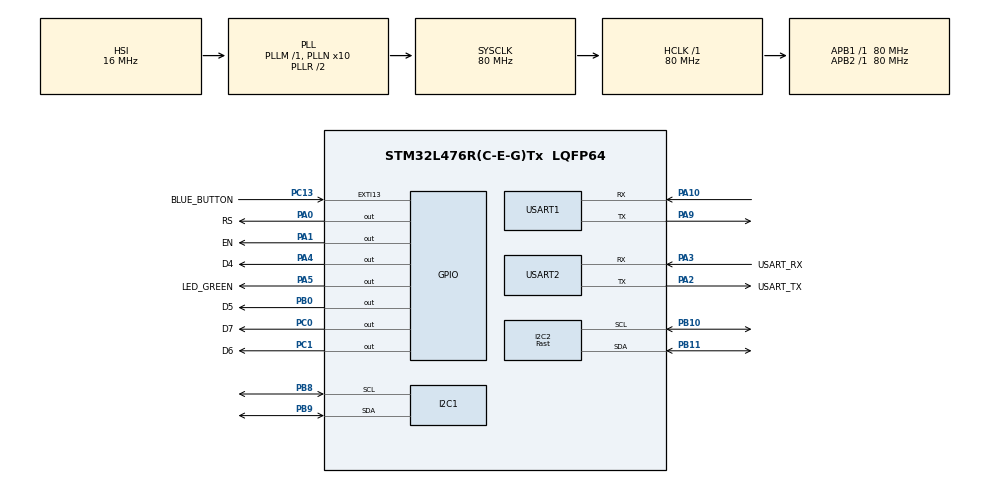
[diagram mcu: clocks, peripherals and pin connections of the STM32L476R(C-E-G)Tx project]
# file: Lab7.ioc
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FREERTOS.BinarySemaphores01=myBinarySem01,Dynamic,NULL,Available
FREERTOS.Queues01=myQueue01,8,uint8_t,0,Dynamic,NULL,NULL
FREERTOS.Tasks01=StartBlinkGreen,24,256,Task1_init,Default,NULL,Dynamic,NULL,NULL;StartBlinkRed,24,256,Task2_init,Default,NULL,Dynamic,NULL,NULL
FREERTOS.configMINIMAL_STACK_SIZE=256
FREERTOS.configUSE_NEWLIB_REENTRANT=1
I2C1.I2C_Rise_Time=100
I2C1.Timing=0x10D09CE8
I2C2.I2C_Fall_Time=100
I2C2.I2C_Rise_Time=100
I2C2.I2C_Speed_Mode=I2C_Fast
I2C2.Timing=0x00F12981
Mcu.Family=STM32L4
Mcu.Name=STM32L476R(C-E-G)Tx
Mcu.Package=LQFP64
NVIC.EXTI15_10_IRQn=true\:5\:0\:false\:false\:true\:true\:true\:true\:true
NVIC.PriorityGroup=NVIC_PRIORITYGROUP_4
NVIC.TIM6_DAC_IRQn=true\:15\:0\:false\:false\:true\:false\:false\:true\:true
NVIC.TimeBase=TIM6_DAC_IRQn
NVIC.TimeBaseIP=TIM6
PA0.GPIO_Label=RS
PA0.Signal=GPIO_Output
PA1.GPIO_Label=EN
PA1.Signal=GPIO_Output
PA10.Mode=Asynchronous
PA10.Signal=USART1_RX
PA13\ (JTMS-SWDIO).GPIO_Label=TMS
PA13\ (JTMS-SWDIO).Mode=Serial_Wire
PA13\ (JTMS-SWDIO).Signal=SYS_JTMS-SWDIO
PA14\ (JTCK-SWCLK).GPIO_Label=TCK
PA14\ (JTCK-SWCLK).Mode=Serial_Wire
PA14\ (JTCK-SWCLK).Signal=SYS_JTCK-SWCLK
PA2.GPIO_Label=USART_TX
PA2.GPIO_Mode=GPIO_MODE_AF_PP
PA2.GPIO_PuPd=GPIO_NOPULL
PA2.GPIO_Speed=GPIO_SPEED_FREQ_VERY_HIGH
PA2.Mode=Asynchronous
PA2.Signal=USART2_TX
PA3.GPIO_Label=USART_RX
PA3.GPIO_Mode=GPIO_MODE_AF_PP
PA3.GPIO_PuPd=GPIO_NOPULL
PA3.GPIO_Speed=GPIO_SPEED_FREQ_VERY_HIGH
PA3.Mode=Asynchronous
PA3.Signal=USART2_RX
PA4.GPIO_Label=D4
PA4.Signal=GPIO_Output
PA5.GPIO_Label=LED_GREEN
PA5.GPIO_ModeDefaultOutputPP=GPIO_MODE_OUTPUT_PP
PA5.GPIO_PuPd=GPIO_NOPULL
PA5.GPIO_Speed=GPIO_SPEED_FREQ_LOW
PA5.Signal=GPIO_Output
PA9.Mode=Asynchronous
PA9.Signal=USART1_TX
PB0.GPIO_Label=D5
PB0.Signal=GPIO_Output
PB10.Mode=I2C
PB10.Signal=I2C2_SCL
PB11.Mode=I2C
PB11.Signal=I2C2_SDA
PB3\ (JTDO-TRACESWO).GPIO_Label=SWO
PB3\ (JTDO-TRACESWO).Signal=SYS_JTDO-SWO
PB8.Mode=I2C
PB8.Signal=I2C1_SCL
PB9.Mode=I2C
PB9.Signal=I2C1_SDA
PC0.GPIO_Label=D7
PC0.Signal=GPIO_Output
PC1.GPIO_Label=D6
PC1.Signal=GPIO_Output
PC13.GPIO_Label=BLUE_BUTTON
PC13.GPIO_ModeDefaultEXTI=GPIO_MODE_IT_FALLING
PC13.GPIO_PuPd=GPIO_NOPULL
PC13.Signal=GPXTI13
PC14-OSC32_IN\ (PC14).Mode=LSE-External-Oscillator
PC14-OSC32_IN\ (PC14).Signal=RCC_OSC32_IN
PC15-OSC32_OUT\ (PC15).Mode=LSE-External-Oscillator
PC15-OSC32_OUT\ (PC15).Signal=RCC_OSC32_OUT
PH0-OSC_IN\ (PH0).Signal=RCC_OSC_IN
PH1-OSC_OUT\ (PH1).Signal=RCC_OSC_OUT
ProjectManager.HeapSize=0x200
ProjectManager.StackSize=0x400
ProjectManager.TargetToolchain=STM32CubeIDE
RCC.ADCFreq_Value=64000000
RCC.AHBFreq_Value=80000000
RCC.APB1Freq_Value=80000000
RCC.APB1TimFreq_Value=80000000
RCC.APB2Freq_Value=80000000
RCC.APB2TimFreq_Value=80000000
RCC.CortexFreq_Value=80000000
RCC.HCLKFreq_Value=80000000
RCC.HSE_VALUE=8000000
RCC.HSI_VALUE=16000000
RCC.MSI_VALUE=4000000
RCC.PLLN=10
RCC.PLLSourceVirtual=RCC_PLLSOURCE_HSI
RCC.PREFETCH_ENABLE=1
RCC.SYSCLKFreq_VALUE=80000000
RCC.SYSCLKSource=RCC_SYSCLKSOURCE_PLLCLK
RCC.USBFreq_Value=64000000
RCC.VCOOutputFreq_Value=160000000
USART1.VirtualMode-Asynchronous=VM_ASYNC
USART2.VirtualMode-Asynchronous=VM_ASYNC
VP_FREERTOS_VS_CMSIS_V2.Mode=CMSIS_V2
VP_SYS_VS_tim6.Mode=TIM6
board=NUCLEO-L476RG

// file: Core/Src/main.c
/* USER CODE BEGIN Header */
/**
  ******************************************************************************
  * @file           : main.c
  * @brief          : Main program body
  ******************************************************************************
  * @attention
  *
  * Copyright (c) 2025 STMicroelectronics.
  * All rights reserved.
  *
  * This software is licensed under terms that can be found in the LICENSE file
  * in the root directory of this software component.
  * If no LICENSE file comes with this software, it is provided AS-IS.
  *
  ******************************************************************************
  */
/* USER CODE END Header */
#include "main.h"
#include "cmsis_os.h"

/* USER CODE BEGIN Includes */
#include "ssd1306.h"
#include "fonts.h"

/* USER CODE END Includes */

I2C_HandleTypeDef hi2c1;
I2C_HandleTypeDef hi2c2;

UART_HandleTypeDef huart1;
UART_HandleTypeDef huart2;

/* Definitions for StartBlinkGreen */
osThreadId_t StartBlinkGreenHandle;
const osThreadAttr_t StartBlinkGreen_attributes = {
  .name = "StartBlinkGreen",
  .stack_size = 256 * 4,
  .priority = (osPriority_t) osPriorityNormal,
};
/* Definitions for StartBlinkRed */
osThreadId_t StartBlinkRedHandle;
const osThreadAttr_t StartBlinkRed_attributes = {
  .name = "StartBlinkRed",
  .stack_size = 256 * 4,
  .priority = (osPriority_t) osPriorityNormal,
};
/* Definitions for myQueue01 */
osMessageQueueId_t myQueue01Handle;
const osMessageQueueAttr_t myQueue01_attributes = {
  .name = "myQueue01"
};
/* Definitions for myBinarySem01 */
osSemaphoreId_t myBinarySem01Handle;
const osSemaphoreAttr_t myBinarySem01_attributes = {
  .name = "myBinarySem01"
};
/* USER CODE BEGIN PV */
#include "lcd_driver.h"
#include <stdio.h>
char cc1[8] = {0x00, 0x00, 0x0A, 0x00, 0x11, 0x0E, 0x00, 0x00}; // smiley
char cc2[8] = {0x0E, 0x0E, 0x04, 0x0E, 0x15, 0x04, 0x0A, 0x0A}; // Robo
char cc3[8] = {0x08, 0x0C, 0x0E, 0x0F, 0x0E, 0x0C, 0x08, 0x00}; // arrow
char cc4[8] = {0x00, 0x04, 0x0E, 0x0E, 0x0E, 0x1F, 0x04, 0x00}; // bell
char cc5[8] = {0x00, 0x00, 0x0A, 0x15, 0x11, 0x0E, 0x04, 0x00}; // Heart
char cc6[8] = {0x00, 0x0E, 0x11, 0x11, 0x11, 0x0A, 0x1B, 0x00}; // omega
char cc7[8] = {0x0E, 0x10, 0x17, 0x12, 0x12, 0x12, 0x10, 0x0E}; // CT
char cc8[8] = {0x04, 0x04, 0x1F, 0x04, 0x04, 0x00, 0x1F, 0x00}; // +-

void Task_action(char message)
{
    ITM_SendChar(message);
    ITM_SendChar('\n');
}
void HAL_GPIO_EXTI_Callback(uint16_t GPIO_Pin)
{
Task_action('!');
osSemaphoreRelease(myBinarySem01Handle);
}
/* USER CODE END PV */

void SystemClock_Config(void);
static void MX_GPIO_Init(void);
static void MX_USART2_UART_Init(void);
static void MX_I2C1_Init(void);
static void MX_USART1_UART_Init(void);
static void MX_I2C2_Init(void);
void Task1_init(void *argument);
void Task2_init(void *argument);

/* USER CODE BEGIN PFP */
void intToStr(int num, char *str) {
int i = 0;
int isNeg = 0;
if (num == 0) {
str[i++] = '0';
str[i] = '\0';
return;
}
if (num < 0) {
isNeg = 1;
num = -num;
}
while (num != 0) {
str[i++] = (num % 10) + '0';
num /= 10;
}
if (isNeg)
str[i++] = '-';
str[i] = '\0';
// Reverse the string
for (int j = 0; j < i / 2; j++) {
char t = str[j];
str[j] = str[i - j - 1];
str[i - j - 1] = t;
}
}
/* USER CODE END PFP */

/* USER CODE BEGIN 0 */
#define MPU6050_ADDR 0xD0

#define SMPLRT_DIV_REG 0x19
#define GYRO_CONFIG_REG 0x1B
#define ACCEL_CONFIG_REG 0x1C
#define ACCEL_XOUT_H_REG 0x3B
#define TEMP_OUT_H_REG 0x41
#define GYRO_XOUT_H_REG 0x43
#define PWR_MGMT_1_REG 0x6B
#define WHO_AM_I_REG 0x75

int16_t Accel_X_RAW = 0;
int16_t Accel_Y_RAW = 0;
int16_t Accel_Z_RAW = 0;

int16_t Gyro_X_RAW = 0;
int16_t Gyro_Y_RAW = 0;
int16_t Gyro_Z_RAW = 0;

float Ax, Ay, Az, Gx, Gy, Gz;

void MPU6050_Init (void)
{
	uint8_t check;
	uint8_t Data;

	// check device ID WHO_AM_I
	HAL_I2C_Mem_Read (&hi2c1, MPU6050_ADDR, 0x75, 1, &check, 1, 1000);
	if (check == 0x68)  // 0x68 will be returned by the sensor if everything goes well
	{
		// power management register 0X6B we should write all 0's to wake the sensor up
		Data = 0;
		HAL_I2C_Mem_Write(&hi2c1, MPU6050_ADDR, 0x6B, 1,&Data, 1, 1000);

		// Set DATA RATE of 1KHz by writing SMPLRT_DIV register
		Data = 0x07;
		HAL_I2C_Mem_Write(&hi2c1, MPU6050_ADDR, 0x19, 1, &Data, 1, 1000);

		// Set Gyroscopic configuration in GYRO_CONFIG Register
		Data = 0x00;  // XG_ST=0,YG_ST=0,ZG_ST=0, FS_SEL=0 -> ± 250 ̐/s
		HAL_I2C_Mem_Write(&hi2c1, MPU6050_ADDR, 0x1B, 1, &Data, 1, 1000);

		// Set accelerometer configuration in ACCEL_CONFIG Register
		Data = 0x00;  // XA_ST=0,YA_ST=0,ZA_ST=0, FS_SEL=0 -> ± 2g
		HAL_I2C_Mem_Write(&hi2c1, MPU6050_ADDR, 0x1C, 1, &Data, 1, 1000);
	}

}

void MPU6050_Read_Accel (void)
{
	uint8_t Rec_Data[6];

	// Read 6 BYTES of data starting from ACCEL_XOUT_H (0x3B) register
	HAL_I2C_Mem_Read (&hi2c1, MPU6050_ADDR, 0x3B, 1, Rec_Data, 6, 1000);

	Accel_X_RAW = (int16_t)(Rec_Data[0] << 8 | Rec_Data [1]);
	Accel_Y_RAW = (int16_t)(Rec_Data[2] << 8 | Rec_Data [3]);
	Accel_Z_RAW = (int16_t)(Rec_Data[4] << 8 | Rec_Data [5]);

	/*** convert the RAW values into acceleration in 'g'
	     we have to divide according to the Full scale value set in FS_SEL
	     I have configured FS_SEL = 0. So I am dividing by 16384.0
	     for more details check ACCEL_CONFIG Register              ****/

	Ax = (float)Accel_X_RAW/16384.0;
	Ay = (float)Accel_Y_RAW/16384.0;
	Az = (float)Accel_Z_RAW/16384.0;
}

void MPU6050_Read_Gyro (void)
{
	uint8_t Rec_Data[6];

	// Read 6 BYTES of data starting from GYRO_XOUT_H register
	HAL_I2C_Mem_Read (&hi2c1, MPU6050_ADDR, 0x43, 1, Rec_Data, 6, 1000);

	Gyro_X_RAW = (int16_t)(Rec_Data[0] << 8 | Rec_Data [1]);
	Gyro_Y_RAW = (int16_t)(Rec_Data[2] << 8 | Rec_Data [3]);
	Gyro_Z_RAW = (int16_t)(Rec_Data[4] << 8 | Rec_Data [5]);

	/*** convert the RAW values into dps (ｰ/s)
	     we have to divide according to the Full scale value set in FS_SEL
	     I have configured FS_SEL = 0. So I am dividing by 131.0
	     for more details check GYRO_CONFIG Register              ****/

	Gx = (float)Gyro_X_RAW/131.0;
	Gy = (float)Gyro_Y_RAW/131.0;
	Gz = (float)Gyro_Z_RAW/131.0;
}

/* USER CODE END 0 */

int main(void)
{
  /* USER CODE BEGIN 1 */
	char buf[10];
		int oldax,olday;
		int xpos=64;
		int ypos=16;

  /* USER CODE END 1 */

  /* MCU Configuration--------------------------------------------------------*/

  /* Reset of all peripherals, Initializes the Flash interface and the Systick. */
  HAL_Init();

  /* Configure the system clock */
  SystemClock_Config();

  /* Initialize all configured peripherals */
  MX_GPIO_Init();
  MX_USART2_UART_Init();
  MX_I2C1_Init();
  MX_USART1_UART_Init();
  MX_I2C2_Init();
  /* USER CODE BEGIN 2 */
  lcd_init();
  create_custom_char(0,cc1);
  create_custom_char(1,cc2);
  create_custom_char(2,cc3);
  create_custom_char(3,cc4);
  create_custom_char(5,cc6);
  create_custom_char(6,cc7);
  create_custom_char(7,cc8);
  MPU6050_Init();

  lcd_init();

  SSD1306_Init (); // initialise the display

int dot_x=30;
int dot_y=30;
  /* USER CODE END 2 */

  /* Init scheduler */
  osKernelInitialize();

  /* Create the semaphores(s) */
  /* creation of myBinarySem01 */
  myBinarySem01Handle = osSemaphoreNew(1, 1, &myBinarySem01_attributes);

  /* Create the queue(s) */
  /* creation of myQueue01 */
  myQueue01Handle = osMessageQueueNew (8, sizeof(uint8_t), &myQueue01_attributes);

  /* Create the thread(s) */
  /* creation of StartBlinkGreen */
  StartBlinkGreenHandle = osThreadNew(Task1_init, NULL, &StartBlinkGreen_attributes);

  /* creation of StartBlinkRed */
  StartBlinkRedHandle = osThreadNew(Task2_init, NULL, &StartBlinkRed_attributes);

  /* Start scheduler */
  osKernelStart();

  /* We should never get here as control is now taken by the scheduler */
  /* Infinite loop */
  while (1)
  {

    /* USER CODE BEGIN 3 */
	  /*setCursor(0, 0);
	  lcd_send_string("Custom characters");
	  HAL_Delay(200);
	  setCursor(0, 1);
	  for (int i=0; i<8; i++) {display_custom_char(i); HAL_Delay(300);}
	  HAL_Delay(700);
	  lcd_clear();
	  HAL_Delay(200);*/
	  oldax = Ax;
	  	  	olday=Ay;
	  	  	MPU6050_Read_Accel();
	  	    	MPU6050_Read_Gyro();
	  	  	setCursor(0, 0);
	  	  	// print the Acceleration and Gyro values on the LCD 16x2

	  	  	sprintf (buf, "Ax=%.2fg ", Ax);
	  	  	lcd_send_string (buf);
	  	  	sprintf (buf, "Ay=%.2fg ", Ay);
	  	  	lcd_send_string (buf);

	  	  	setCursor(0, 1);
	  	  	sprintf (buf, "Gx=%.2f", Gx);
	  	  	lcd_send_string (buf);
	  	  	sprintf (buf, "Gy=%.2f", Gy);
	  	  	lcd_send_string (buf);

	  	  	lcd_clear();
	  	  	HAL_Delay(200);

	  	  	dot_x = (int) (Ax*60)+60;
	  	  	dot_y = (int) (Ay*20)+20;
	  	  			SSD1306_Clear();
	  	  	  	  	SSD1306_GotoXY (dot_x,dot_y); // goto 10, 10
	  	  	  	    SSD1306_Puts ("A", &Font_11x18, 1); // print Hello

	  	  	  	    SSD1306_UpdateScreen(); // update screenSSD1306_Clear();

  }
  /* USER CODE END 3 */
}

void SystemClock_Config(void)
{
  RCC_OscInitTypeDef RCC_OscInitStruct = {0};
  RCC_ClkInitTypeDef RCC_ClkInitStruct = {0};

  /** Configure the main internal regulator output voltage
  */
  if (HAL_PWREx_ControlVoltageScaling(PWR_REGULATOR_VOLTAGE_SCALE1) != HAL_OK)
  {
    Error_Handler();
  }

  /** Initializes the RCC Oscillators according to the specified parameters
  * in the RCC_OscInitTypeDef structure.
  */
  RCC_OscInitStruct.OscillatorType = RCC_OSCILLATORTYPE_HSI;
  RCC_OscInitStruct.HSIState = RCC_HSI_ON;
  RCC_OscInitStruct.HSICalibrationValue = RCC_HSICALIBRATION_DEFAULT;
  RCC_OscInitStruct.PLL.PLLState = RCC_PLL_ON;
  RCC_OscInitStruct.PLL.PLLSource = RCC_PLLSOURCE_HSI;
  RCC_OscInitStruct.PLL.PLLM = 1;
  RCC_OscInitStruct.PLL.PLLN = 10;
  RCC_OscInitStruct.PLL.PLLP = RCC_PLLP_DIV7;
  RCC_OscInitStruct.PLL.PLLQ = RCC_PLLQ_DIV2;
  RCC_OscInitStruct.PLL.PLLR = RCC_PLLR_DIV2;
  if (HAL_RCC_OscConfig(&RCC_OscInitStruct) != HAL_OK)
  {
    Error_Handler();
  }

  /** Initializes the CPU, AHB and APB buses clocks
  */
  RCC_ClkInitStruct.ClockType = RCC_CLOCKTYPE_HCLK|RCC_CLOCKTYPE_SYSCLK
                              |RCC_CLOCKTYPE_PCLK1|RCC_CLOCKTYPE_PCLK2;
  RCC_ClkInitStruct.SYSCLKSource = RCC_SYSCLKSOURCE_PLLCLK;
  RCC_ClkInitStruct.AHBCLKDivider = RCC_SYSCLK_DIV1;
  RCC_ClkInitStruct.APB1CLKDivider = RCC_HCLK_DIV1;
  RCC_ClkInitStruct.APB2CLKDivider = RCC_HCLK_DIV1;

  if (HAL_RCC_ClockConfig(&RCC_ClkInitStruct, FLASH_LATENCY_4) != HAL_OK)
  {
    Error_Handler();
  }
}

static void MX_I2C1_Init(void)
{

  hi2c1.Instance = I2C1;
  hi2c1.Init.Timing = 0x10D09CE8;
  hi2c1.Init.OwnAddress1 = 0;
  hi2c1.Init.AddressingMode = I2C_ADDRESSINGMODE_7BIT;
  hi2c1.Init.DualAddressMode = I2C_DUALADDRESS_DISABLE;
  hi2c1.Init.OwnAddress2 = 0;
  hi2c1.Init.OwnAddress2Masks = I2C_OA2_NOMASK;
  hi2c1.Init.GeneralCallMode = I2C_GENERALCALL_DISABLE;
  hi2c1.Init.NoStretchMode = I2C_NOSTRETCH_DISABLE;
  if (HAL_I2C_Init(&hi2c1) != HAL_OK)
  {
    Error_Handler();
  }

  /** Configure Analogue filter
  */
  if (HAL_I2CEx_ConfigAnalogFilter(&hi2c1, I2C_ANALOGFILTER_ENABLE) != HAL_OK)
  {
    Error_Handler();
  }

  /** Configure Digital filter
  */
  if (HAL_I2CEx_ConfigDigitalFilter(&hi2c1, 0) != HAL_OK)
  {
    Error_Handler();
  }

}

static void MX_I2C2_Init(void)
{

  hi2c2.Instance = I2C2;
  hi2c2.Init.Timing = 0x00F12981;
  hi2c2.Init.OwnAddress1 = 0;
  hi2c2.Init.AddressingMode = I2C_ADDRESSINGMODE_7BIT;
  hi2c2.Init.DualAddressMode = I2C_DUALADDRESS_DISABLE;
  hi2c2.Init.OwnAddress2 = 0;
  hi2c2.Init.OwnAddress2Masks = I2C_OA2_NOMASK;
  hi2c2.Init.GeneralCallMode = I2C_GENERALCALL_DISABLE;
  hi2c2.Init.NoStretchMode = I2C_NOSTRETCH_DISABLE;
  if (HAL_I2C_Init(&hi2c2) != HAL_OK)
  {
    Error_Handler();
  }

  /** Configure Analogue filter
  */
  if (HAL_I2CEx_ConfigAnalogFilter(&hi2c2, I2C_ANALOGFILTER_ENABLE) != HAL_OK)
  {
    Error_Handler();
  }

  /** Configure Digital filter
  */
  if (HAL_I2CEx_ConfigDigitalFilter(&hi2c2, 0) != HAL_OK)
  {
    Error_Handler();
  }

}

static void MX_USART1_UART_Init(void)
{

  huart1.Instance = USART1;
  huart1.Init.BaudRate = 115200;
  huart1.Init.WordLength = UART_WORDLENGTH_8B;
  huart1.Init.StopBits = UART_STOPBITS_1;
  huart1.Init.Parity = UART_PARITY_NONE;
  huart1.Init.Mode = UART_MODE_TX_RX;
  huart1.Init.HwFlowCtl = UART_HWCONTROL_NONE;
  huart1.Init.OverSampling = UART_OVERSAMPLING_16;
  huart1.Init.OneBitSampling = UART_ONE_BIT_SAMPLE_DISABLE;
  huart1.AdvancedInit.AdvFeatureInit = UART_ADVFEATURE_NO_INIT;
  if (HAL_UART_Init(&huart1) != HAL_OK)
  {
    Error_Handler();
  }

}

static void MX_USART2_UART_Init(void)
{

  huart2.Instance = USART2;
  huart2.Init.BaudRate = 115200;
  huart2.Init.WordLength = UART_WORDLENGTH_8B;
  huart2.Init.StopBits = UART_STOPBITS_1;
  huart2.Init.Parity = UART_PARITY_NONE;
  huart2.Init.Mode = UART_MODE_TX_RX;
  huart2.Init.HwFlowCtl = UART_HWCONTROL_NONE;
  huart2.Init.OverSampling = UART_OVERSAMPLING_16;
  huart2.Init.OneBitSampling = UART_ONE_BIT_SAMPLE_DISABLE;
  huart2.AdvancedInit.AdvFeatureInit = UART_ADVFEATURE_NO_INIT;
  if (HAL_UART_Init(&huart2) != HAL_OK)
  {
    Error_Handler();
  }

}

static void MX_GPIO_Init(void)
{
  GPIO_InitTypeDef GPIO_InitStruct = {0};

  /* GPIO Ports Clock Enable */
  __HAL_RCC_GPIOC_CLK_ENABLE();
  __HAL_RCC_GPIOH_CLK_ENABLE();
  __HAL_RCC_GPIOA_CLK_ENABLE();
  __HAL_RCC_GPIOB_CLK_ENABLE();

  /*Configure GPIO pin Output Level */
  HAL_GPIO_WritePin(GPIOC, D7_Pin|D6_Pin, GPIO_PIN_RESET);

  /*Configure GPIO pin Output Level */
  HAL_GPIO_WritePin(GPIOA, RS_Pin|EN_Pin|D4_Pin|LED_GREEN_Pin, GPIO_PIN_RESET);

  /*Configure GPIO pin Output Level */
  HAL_GPIO_WritePin(D5_GPIO_Port, D5_Pin, GPIO_PIN_RESET);

  /*Configure GPIO pin : BLUE_BUTTON_Pin */
  GPIO_InitStruct.Pin = BLUE_BUTTON_Pin;
  GPIO_InitStruct.Mode = GPIO_MODE_IT_FALLING;
  GPIO_InitStruct.Pull = GPIO_NOPULL;
  HAL_GPIO_Init(BLUE_BUTTON_GPIO_Port, &GPIO_InitStruct);

  /*Configure GPIO pins : D7_Pin D6_Pin */
  GPIO_InitStruct.Pin = D7_Pin|D6_Pin;
  GPIO_InitStruct.Mode = GPIO_MODE_OUTPUT_PP;
  GPIO_InitStruct.Pull = GPIO_NOPULL;
  GPIO_InitStruct.Speed = GPIO_SPEED_FREQ_LOW;
  HAL_GPIO_Init(GPIOC, &GPIO_InitStruct);

  /*Configure GPIO pins : RS_Pin EN_Pin D4_Pin LED_GREEN_Pin */
  GPIO_InitStruct.Pin = RS_Pin|EN_Pin|D4_Pin|LED_GREEN_Pin;
  GPIO_InitStruct.Mode = GPIO_MODE_OUTPUT_PP;
  GPIO_InitStruct.Pull = GPIO_NOPULL;
  GPIO_InitStruct.Speed = GPIO_SPEED_FREQ_LOW;
  HAL_GPIO_Init(GPIOA, &GPIO_InitStruct);

  /*Configure GPIO pin : D5_Pin */
  GPIO_InitStruct.Pin = D5_Pin;
  GPIO_InitStruct.Mode = GPIO_MODE_OUTPUT_PP;
  GPIO_InitStruct.Pull = GPIO_NOPULL;
  GPIO_InitStruct.Speed = GPIO_SPEED_FREQ_LOW;
  HAL_GPIO_Init(D5_GPIO_Port, &GPIO_InitStruct);

  /* EXTI interrupt init*/
  HAL_NVIC_SetPriority(EXTI15_10_IRQn, 5, 0);
  HAL_NVIC_EnableIRQ(EXTI15_10_IRQn);

}

void Task1_init(void *argument)
{
  /* USER CODE BEGIN 5 */
	uint8_t x=0;
  /* Infinite loop */
  for(;;)
  {
	  osDelay(2000);
	  Task_action('1'); //Task1 release semaphore
	  osSemaphoreRelease(myBinarySem01Handle);
  }
  /* USER CODE END 5 */
}

void Task2_init(void *argument)
{
  /* USER CODE BEGIN Task2_init */
  /* Infinite loop */
	uint8_t res=0;;
  for(;;)
  {
	  osSemaphoreAcquire(myBinarySem01Handle,4000);
	  Task_action('2'); //Task2 synchronized
  }
  /* USER CODE END Task2_init */
}

void HAL_TIM_PeriodElapsedCallback(TIM_HandleTypeDef *htim)
{
  if (htim->Instance == TIM6) {
    HAL_IncTick();
  }
}

void Error_Handler(void)
{
  __disable_irq();
  while (1)
  {
  }
}
